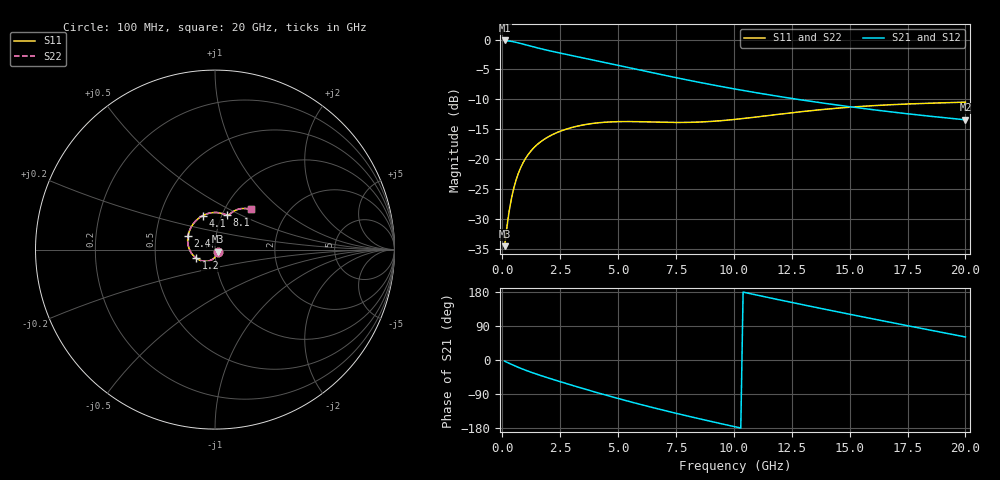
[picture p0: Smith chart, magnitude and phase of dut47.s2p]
! Touchstone file exported from HFSS 2023.1.0
!  File:  D:/Users/fzz/RDL_TSV/temp_RDL_TSV_47_1778745189.aedt
!  Generated:  4:02:45 %x4E0B%x5348  5%x6708 14, 2026
!  Design:  RDL_TSV
!  Project:  temp_RDL_TSV_47_1778745189
!  Setup:  Setup1
!  Solution:  Sweep
! Variables:
!  dtsv = 23.87um
!  hbump = 3um
!  htsv = 80.15um
!  ldown = 561.98um
!  lrdl = 565.96um
!  p = 40
!  p1 = 56.93um
!  rhole = 10um
!  subl = 3949.78um
!  t = 450um
!  tdown = 4.99um
!  trdl = 2.7um
!  viad = 10um
!  wdown = 27.88um
!  wrdl = 28.41um
!  xbump = 18um
# GHz S MA R 50.000000
! Terminal data exported
! Port[1] = TM1_1_T1
! Port[2] = TM1_4_T1
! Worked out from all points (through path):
!   200 points, 100 MHz to 20 GHz, reference 50 ohm
!   highest |S21| = -0.15 dB at 100 MHz (marker M1); lowest = -13.4 dB at 20 GHz (marker M2)
!   group delay of S21, straight-line fit = 39.5 ps
!   lowest |S11| = -34.5 dB at 100 MHz (marker M3), VSWR 1.04, Z = 51.4 - j1.28 ohm
!   |S11| at or under -10 dB: start of sweep to end of sweep
!   |S22| runs from -34.5 to -10.4 dB; largest |S21 - S12| = 2.8e-14
!   S11 on the Smith chart (normalised r, x): 100 MHz: 1.03, -0.03; 1.2 GHz: 0.81, -0.08; 2.4 GHz: 0.73, +0.11; 4.1 GHz: 0.82, +0.32; 8.1 GHz: 1.05, +0.42; 20 GHz: 1.32, +0.65
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0.1  0.01876 -41.4  0.9833 -3.0  0.9833 -3.0  0.01876 -41.4
! Gamma 0 0 0 0
! Port Impedance 50 0 50 0
0.2  0.02711 -66.8  0.9791 -6.0  0.9791 -6.0  0.0271 -66.8
0.3  0.03711 -83.3  0.9732 -8.8  0.9732 -8.8  0.03711 -83.2
0.5  0.05767 -105.9  0.9574 -14.4  0.9574 -14.4  0.0577 -105.8
0.8  0.08545 -130.2  0.9274 -22.1  0.9274 -22.1  0.0855 -130.2
1.2  0.1149 -155.3  0.8843 -31.4  0.8843 -31.4  0.1149 -155.3
1.7  0.1419 -180.0  0.8353 -41.8  0.8353 -41.8  0.142 180.0
2.4  0.1682 153.1  0.7782 -55.3  0.7782 -55.3  0.1685 153.1
2.9  0.1818 137.7  0.7426 -64.7  0.7426 -64.7  0.1821 137.6
3.5  0.1936 122.2  0.7027 -75.6  0.7027 -75.6  0.194 122.1
4.1  0.2012 109.4  0.6645 -86.2  0.6645 -86.2  0.2017 109.4
5.4  0.2064 89.2  0.5868 -108.1  0.5868 -108.1  0.207 89.2
6.1  0.2055 81.9  0.5485 -119.3  0.5485 -119.3  0.2061 81.8
6.8  0.2039 76.7  0.513 -130.1  0.513 -130.1  0.2045 76.6
8.1  0.2033 71.0  0.4552 -149.3  0.4552 -149.3  0.2039 70.9
9.1  0.2075 68.8  0.4174 -163.3  0.4174 -163.3  0.2079 68.7
10.1  0.2157 67.2  0.3846 -176.9  0.3846 -176.9  0.2161 67.1
11.7  0.2343 64.6  0.3408 162.1  0.3408 162.1  0.2347 64.5
13.4  0.2554 60.9  0.3033 140.5  0.3033 140.5  0.2558 60.9
15  0.2721 57.1  0.2747 120.7  0.2747 120.7  0.2726 57.1
16.7  0.2849 53.4  0.2499 100.1  0.2499 100.1  0.2855 53.4
20  0.2998 48.4  0.2136 60.8  0.2136 60.8  0.3005 48.4
